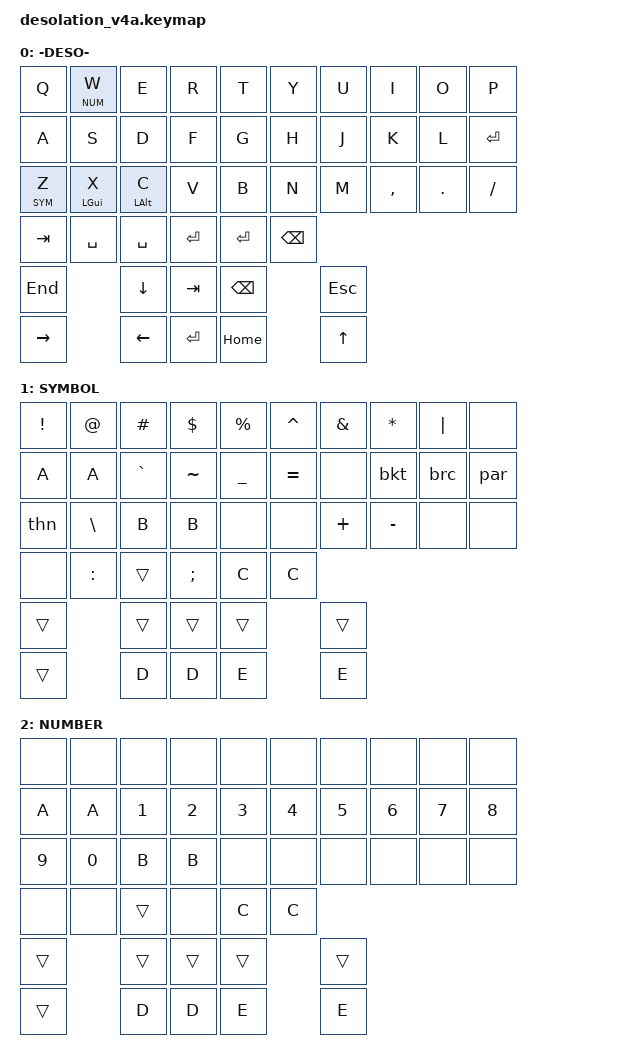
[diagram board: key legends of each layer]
/*
 * Last Update 12/3/24
 * QWERTY v4
 * 
 */

#include <behaviors.dtsi>
#include <dt-bindings/zmk/keys.h>
#include <dt-bindings/zmk/bt.h>
#include <dt-bindings/zmk/outputs.h>

#define DEF      0
#define SYM      1
#define NUM      2

#define NUMW     &lt NUM W
#define SYMZ     &lt SYM Z
#define GUIX     &hrm LGUI X
#define ALTC     &hrm LALT C
#define COM      &kp COMMA
#define DT       &kp DOT 
#define SLS      &kp SLASH
#define TB       &kp TAB   
#define SPC      &kp SPACE

&mt {
    flavor = "tap-preferred";
    tapping_term_ms = <180>;
};

&lt {
    tapping_term_ms = <150>;
};

/ {
    combos {

        compatible = "zmk,combos";
        combo_bootloader {
            timeout-ms = <50>;
            key-positions = <1 10>;
            bindings = <&bootloader>;
        };
    };

    behaviors {

        bkt: tap_dance_bracket {
            compatible = "zmk,behavior-tap-dance";
            #binding-cells = <0>;
            tapping-term-ms = <200>;
            bindings = <&kp LBKT>, <&kp RBKT>;
        };

        brc: tap_dance_brace {
            compatible = "zmk,behavior-tap-dance";
            #binding-cells = <0>;
            tapping-term-ms = <200>;
            bindings = <&kp LBRC>, <&kp RBRC>;
        };

        par: tap_dance_paren {
            compatible = "zmk,behavior-tap-dance";
            #binding-cells = <0>;
            tapping-term-ms = <200>;
            bindings = <&kp LPAR>, <&kp RPAR>;
        };

        thn: tap_dance_then {
            compatible = "zmk,behavior-tap-dance";
            #binding-cells = <0>;
            tapping-term-ms = <200>;
            bindings = <&kp LT>, <&kp GT>;
        };

        hrm: homerow_mods {
           compatible = "zmk,behavior-hold-tap";
           #binding-cells = <2>;
           tapping-term-ms = <250>;
           quick-tap-ms = <0>;
           flavor = "tap-preferred";
           bindings = <&kp>, <&kp>;
        };

    };



    keymap {
        compatible = "zmk,keymap";

        default_layer {
            display-name = "-DESO-";  
            bindings = <
                &kp Q  NUMW   &kp E &kp R   &kp T   &kp Y  &kp U  &kp I &kp O &kp P
                &kp A  &kp S  &kp D &kp F   &kp G   &kp H  &kp J  &kp K &kp L &kp RET
                SYMZ   GUIX   ALTC  &kp V   &kp B   &kp N  &kp M  COM   DT    SLS
                TB     SPC    SPC   &kp RET &kp RET &kp BSPC
                &kp END    &kp DOWN  TB        &kp BSPC      &kp ESC
                &kp RIGHT  &kp LEFT  &kp RET   &kp HOME      &kp UP
            >;
        };

        sym_layer {
            display-name = "SYMBOL";  
            bindings = <
                &kp EXCL &kp AT &kp HASH &kp DLLR &kp PRCNT &kp CARET &kp AMPS &kp STAR &kp PIPE &none &kp A &kp A
                &kp GRAVE &kp TILDE &kp UNDER &kp EQUAL &none &bkt &brc &par &thn &kp BSLH   &kp B &kp B
                &none &none &kp PLUS &kp MINUS &none &none &none &kp COLON &trans &kp SEMI &kp C &kp C
                &trans &trans &trans &trans &trans &trans &kp D &kp D &kp E &kp E
            >;
        };

        num_layer {
            display-name = "NUMBER";  
            bindings = <
                &none &none &none &none &none &none &none &none &none &none &kp A &kp A
                &kp N1 &kp N2 &kp N3 &kp N4 &kp N5 &kp N6 &kp N7 &kp N8 &kp N9 &kp N0 &kp B &kp B
                &none &none &none &none &none &none &none &none &trans &none &kp C &kp C
                &trans &trans &trans &trans &trans &trans &kp D &kp D &kp E &kp E
            >;
        };
    };
};
